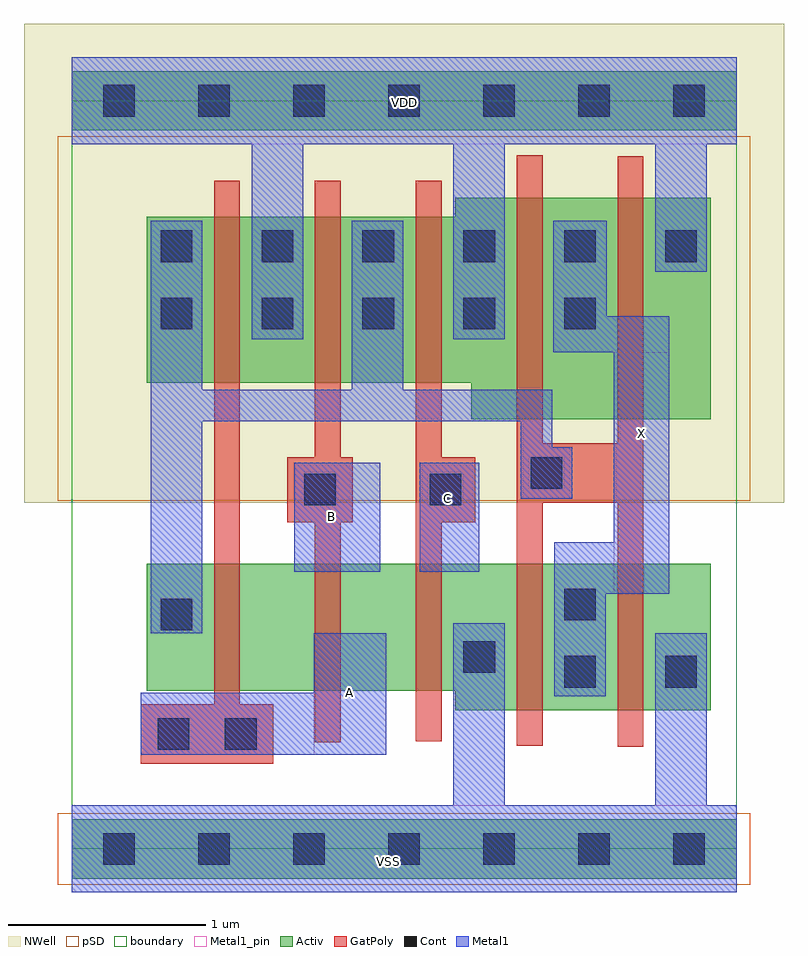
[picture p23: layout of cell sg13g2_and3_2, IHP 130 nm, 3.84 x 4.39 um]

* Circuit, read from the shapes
.subckt sg13g2_and3_2 A B C VDD VSS X
XM1 n1 A n2 VSS sg13_lv_nmos w=0.64u l=0.13u
XM2 n3 B n1 VSS sg13_lv_nmos w=0.64u l=0.13u
XM3 VSS C n3 VSS sg13_lv_nmos w=0.64u l=0.13u
XM4 X n2 VSS VSS sg13_lv_nmos w=0.74u l=0.13u m=2
XM5 VDD A n2 VDD sg13_lv_pmos w=0.84u l=0.13u
XM6 n2 B VDD VDD sg13_lv_pmos w=0.84u l=0.13u
XM7 VDD C n2 VDD sg13_lv_pmos w=0.84u l=0.13u
XM8 X n2 VDD VDD sg13_lv_pmos w=1.12u l=0.13u m=2
.ends

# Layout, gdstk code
import gdstk
lib = gdstk.Library(unit=1e-6, precision=1e-09)
def R(c, l, rs):  # rectangles x0, y0, x1, y1
    for r in rs: c.add(gdstk.rectangle(r[:2], r[2:], *l))
def A(c, l, x, y, w, h, nx, ny, dx, dy):  # array of equal rectangles
    R(c, l, [(x+i*dx, y+j*dy, x+i*dx+w, y+j*dy+h) for i in range(nx) for j in range(ny)])
def P(c, l, *ps):  # polygons
    for p in ps: c.add(gdstk.Polygon(p, *l))
Activ = (1, 0)
GatPoly = (5, 0)
Cont = (6, 0)
Metal1 = (8, 0)
Metal1_pin = (8, 2)
pSD = (14, 0)
NWell = (31, 0)
boundary = (189, 4)

sg13g2_and3_2 = lib.new_cell('sg13g2_and3_2')
R(sg13g2_and3_2, Activ, [(0,-0.15,3.36,0.15), (0,3.63,3.36,3.93)])
P(sg13g2_and3_2, Activ, [(2.02,2.17),(2.02,2.355),(0.38,2.355),(0.38,3.195),(1.94,3.195),(1.94,3.29),(3.23,3.29),(3.23,2.17)],
  [(1.94,0.7),(1.94,0.8),(0.38,0.8),(0.38,1.44),(3.23,1.44),(3.23,0.7)])
P(sg13g2_and3_2, GatPoly, [(2.76,0.515),(2.76,1.75),(2.38,1.75),(2.38,0.52),(2.25,0.52),(2.25,3.505),(2.38,3.505),(2.38,2.05),(2.76,2.05),(2.76,3.5),(2.89,3.5),(2.89,0.515)],
  [(0.35,0.43),(0.35,0.73),(0.72,0.73),(0.72,3.375),(0.85,3.375),(0.85,0.73),(1.02,0.73),(1.02,0.43)],
  [(1.23,0.54),(1.23,1.65),(1.09,1.65),(1.09,1.98),(1.23,1.98),(1.23,3.375),(1.36,3.375),(1.36,1.98),(1.42,1.98),(1.42,1.65),(1.36,1.65),(1.36,0.54)],
  [(1.74,0.545),(1.74,3.375),(1.87,3.375),(1.87,1.98),(2.04,1.98),(2.04,1.65),(1.87,1.65),(1.87,0.545)])
A(sg13g2_and3_2, Cont, 0.45, 2.625, 0.16, 0.16, 5, 1, 0.51, 0)
A(sg13g2_and3_2, Cont, 0.45, 2.965, 0.16, 0.16, 6, 1, 0.51, 0)
R(sg13g2_and3_2, Cont, [(0.16,-0.08,0.32,0.08), (0.16,-0.08,0.32,0.08), (0.64,-0.08,0.8,0.08), (0.64,-0.08,0.8,0.08), (1.12,-0.08,1.28,0.08), (1.12,-0.08,1.28,0.08), (1.6,-0.08,1.76,0.08), (1.6,-0.08,1.76,0.08), (2.08,-0.08,2.24,0.08), (2.08,-0.08,2.24,0.08), (2.56,-0.08,2.72,0.08), (2.56,-0.08,2.72,0.08), (3.04,-0.08,3.2,0.08), (3.04,-0.08,3.2,0.08), (0.435,0.5,0.595,0.66), (0.775,0.5,0.935,0.66), (2.49,0.815,2.65,0.975), (3,0.815,3.16,0.975), (1.98,0.89,2.14,1.05), (0.45,1.105,0.61,1.265), (2.49,1.155,2.65,1.315), (1.175,1.735,1.335,1.895), (1.81,1.735,1.97,1.895), (2.32,1.82,2.48,1.98), (0.16,3.7,0.32,3.86), (0.16,3.7,0.32,3.86), (0.64,3.7,0.8,3.86), (0.64,3.7,0.8,3.86), (1.12,3.7,1.28,3.86), (1.12,3.7,1.28,3.86), (1.6,3.7,1.76,3.86), (1.6,3.7,1.76,3.86), (2.08,3.7,2.24,3.86), (2.08,3.7,2.24,3.86), (2.56,3.7,2.72,3.86), (2.56,3.7,2.72,3.86), (3.04,3.7,3.2,3.86), (3.04,3.7,3.2,3.86)])
R(sg13g2_and3_2, Metal1, [(1.125,1.4,1.56,1.95), (1.76,1.4,2.06,1.95)])
P(sg13g2_and3_2, Metal1, [(0.4,1.09),(0.4,3.175),(0.66,3.175),(0.66,2.32),(1.415,2.32),(1.415,3.175),(1.675,3.175),(1.675,2.32),(2.43,2.32),(2.43,2.03),(2.53,2.03),(2.53,1.77),(2.27,1.77),(2.27,2.16),(0.66,2.16),(0.66,1.09)],
  [(0,-0.22),(0,0.22),(1.93,0.22),(1.93,1.14),(2.19,1.14),(2.19,0.22),(2.95,0.22),(2.95,1.09),(3.21,1.09),(3.21,0.22),(3.36,0.22),(3.36,-0.22)],
  [(0.91,2.575),(0.91,3.56),(0,3.56),(0,4),(3.36,4),(3.36,3.56),(3.21,3.56),(3.21,2.915),(2.95,2.915),(2.95,3.56),(2.19,3.56),(2.19,2.575),(1.93,2.575),(1.93,3.56),(1.17,3.56),(1.17,2.575)],
  [(2.44,0.77),(2.44,1.55),(2.74,1.55),(2.74,2.51),(2.435,2.51),(2.435,3.175),(2.705,3.175),(2.705,2.69),(3.02,2.69),(3.02,1.29),(2.7,1.29),(2.7,0.77)],
  [(0.35,0.475),(0.35,0.79),(1.225,0.79),(1.225,1.09),(1.59,1.09),(1.59,0.475)])
R(sg13g2_and3_2, Metal1_pin, [(0,-0.22,3.36,0.22), (1.225,0.475,1.59,1.09), (2.74,1.29,3.02,2.51), (1.125,1.4,1.56,1.95), (1.76,1.4,2.06,1.95), (0,3.56,3.36,4)])
R(sg13g2_and3_2, pSD, [(-0.07,-0.18,3.43,0.18), (-0.07,1.76,3.43,3.6)])
R(sg13g2_and3_2, NWell, [(-0.24,1.75,3.6,4.17)])
R(sg13g2_and3_2, boundary, [(0,0,3.36,3.78)])
sg13g2_and3_2.add(gdstk.Label('X', (2.88,2.1), layer=8, texttype=25))
sg13g2_and3_2.add(gdstk.Label('B', (1.315,1.68), layer=8, texttype=25))
sg13g2_and3_2.add(gdstk.Label('VDD', (1.68,3.77), layer=8, texttype=25))
sg13g2_and3_2.add(gdstk.Label('VSS', (1.6,-0.065), layer=8, texttype=25))
sg13g2_and3_2.add(gdstk.Label('C', (1.9,1.77), layer=8, texttype=25))
sg13g2_and3_2.add(gdstk.Label('A', (1.405,0.79), layer=8, texttype=25))

lib.write_gds('sg13g2_and3_2.gds')
